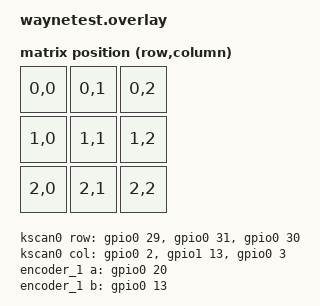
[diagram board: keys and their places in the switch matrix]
#include <dt-bindings/zmk/matrix_transform.h>


/ {
    chosen {
        zmk,kscan = &kscan0;
        zmk,matrix-transform = &default_transform;
    };

    kscan0: kscan_0 {
        compatible = "zmk,kscan-gpio-matrix";
        diode-direction = "col2row";
        wakeup-source;

        col-gpios
            = <&gpio0 2 GPIO_ACTIVE_HIGH>
            , <&gpio1 13 GPIO_ACTIVE_HIGH>
            , <&gpio0 3 GPIO_ACTIVE_HIGH>
            ;

        row-gpios
            = <&gpio0 29 (GPIO_ACTIVE_HIGH | GPIO_PULL_DOWN)>
            , <&gpio0 31 (GPIO_ACTIVE_HIGH | GPIO_PULL_DOWN)>
            , <&gpio0 30 (GPIO_ACTIVE_HIGH | GPIO_PULL_DOWN)>
            ;
    };

    encoder_1: encoder_1 {
        compatible = "alps,ec11";
        a-gpios = <&gpio0 20 (GPIO_ACTIVE_HIGH | GPIO_PULL_UP)>;
        b-gpios = <&gpio0 13 (GPIO_ACTIVE_HIGH | GPIO_PULL_UP)>;
        steps = <80>;
        status = "okay";
    };

    sensors: sensors {
        compatible = "zmk,keymap-sensors";
        sensors = <&encoder_1>;
        triggers-per-rotation = <30>;
    };

    default_transform: keymap_transform_0 {
        compatible = "zmk,matrix-transform";
        columns = <3>;
        rows = <3>;
        map = <
            RC(0,0) RC(0,1) RC(0,2)
            RC(1,0) RC(1,1) RC(1,2)
            RC(2,0) RC(2,1) RC(2,2)
        >;
    };
    
};

